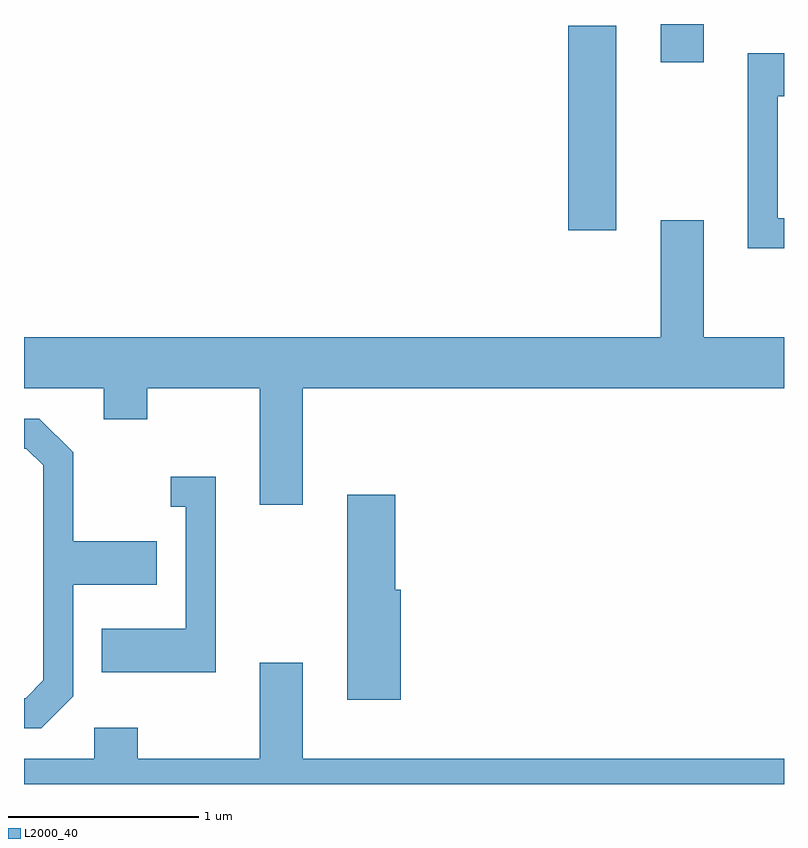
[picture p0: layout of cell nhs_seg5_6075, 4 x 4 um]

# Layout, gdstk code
import gdstk
lib = gdstk.Library(unit=1e-6, precision=1e-09)
def R(c, l, rs):  # rectangles x0, y0, x1, y1
    for r in rs: c.add(gdstk.rectangle(r[:2], r[2:], *l))
def P(c, l, *ps):  # polygons
    for p in ps: c.add(gdstk.Polygon(p, *l))
L2000_40 = (2000, 40)

nhs_seg5_6075 = lib.new_cell('nhs_seg5_6075')
R(nhs_seg5_6075, L2000_40, [(368.476,1430.986,368.729,1432.064), (368.961,1431.871,369.189,1432.072)])
P(nhs_seg5_6075, L2000_40, [(369.611,1431.049),(369.579,1431.049),(369.579,1431.691),(369.611,1431.691),(369.611,1431.919),(369.421,1431.919),(369.421,1430.891),(369.611,1430.891)],
  [(367.079,1430.156),(369.611,1430.156),(369.611,1430.424),(369.189,1430.424),(369.189,1431.039),(368.961,1431.039),(368.961,1430.424),(365.611,1430.424),(365.611,1430.156),(366.031,1430.156),(366.031,1429.991),(366.259,1429.991),(366.259,1430.156),(366.851,1430.156),(366.851,1429.541),(367.079,1429.541)],
  [(365.869,1428.534),(365.869,1429.121),(366.309,1429.121),(366.309,1429.349),(365.869,1429.349),(365.869,1429.817),(365.692,1429.994),(365.611,1429.994),(365.611,1429.836),(365.624,1429.836),(365.711,1429.749),(365.711,1428.617),(365.619,1428.524),(365.611,1428.524),(365.611,1428.366),(365.702,1428.366)],
  [(366.619,1429.689),(366.383,1429.689),(366.383,1429.531),(366.461,1429.531),(366.461,1428.889),(366.021,1428.889),(366.021,1428.661),(366.619,1428.661)],
  [(367.594,1429.094),(367.564,1429.094),(367.564,1429.594),(367.311,1429.594),(367.311,1428.516),(367.594,1428.516)],
  [(369.611,1428.204),(367.079,1428.204),(367.079,1428.709),(366.851,1428.709),(366.851,1428.204),(366.209,1428.204),(366.209,1428.369),(365.981,1428.369),(365.981,1428.204),(365.611,1428.204),(365.611,1428.072),(369.611,1428.072)])

lib.write_gds('nhs_seg5_6075.gds')
